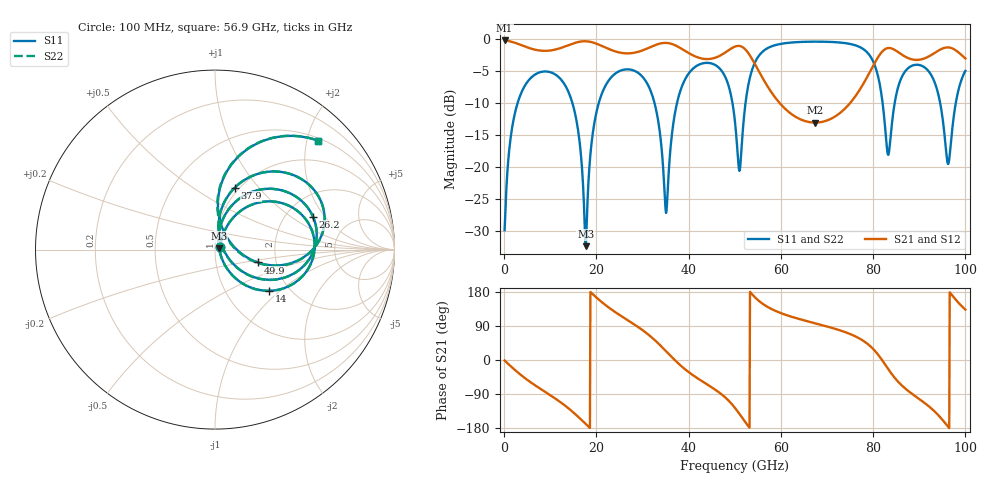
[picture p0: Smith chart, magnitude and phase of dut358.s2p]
! Touchstone file exported from HFSS 2026.1.0
!  File:  C:/ffzhzh/LocalFiles/Ansys_Project_Files/temp_train_TSV_RDL_358_1783709999_45164.aedt
!  Generated:  03:07:11 AM Jul 11, 2026
!  Design:  TSV_RDL
!  Project:  temp_train_TSV_RDL_358_1783709999_45164
! Variables:
!  h_bsmrdl = 2.02um
!  h_ox = 20um
!  h_rdl = 5um
!  h_sub = 94.35um
!  h_tmrdl = 2.02um
!  h_tsv = 94.35um
!  h_via = 3um
!  l_bsmrdl = 192.8um
!  l_sub = 2817.69um
!  l_tmrdl = 435.98um
!  m_sub = 200um
!  pitch = 50.09um
!  r_tsv = 11.07um
!  s_tmrdl = 10um
!  w_bsmrdl = 18.77um
!  w_sub = 500um
!  w_tmrdl = 13.02um
!  x_tsv_center1 = 442.49um
!  x_tsv_center2 = 654.06um
!  x_tsv_center3 = 1103.06um
!  x_tsv_center4 = 1314.63um
!  x_tsv_center5 = 1763.63um
!  x_tsv_center6 = 1975.2um
# GHz S MA R 50.000000
! Terminal data exported
! Port[1] = TM_RDL1_1_T1
! Port[2] = TM_RDL5_1_T1
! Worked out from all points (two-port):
!   1000 points, 100 MHz to 100 GHz, reference 50 ohm
!   highest |S21| = -0.26 dB at 100 MHz (marker M1); lowest = -13.1 dB at 67.4 GHz (marker M2)
!   |S21| within 3 dB of the highest: start of sweep to 53.84 GHz; 90.1 GHz to end of sweep (the widest 2 of 3)
!   lowest |S11| = -32.4 dB at 17.7 GHz (marker M3), VSWR 1.05, Z = 52.4 + j0.736 ohm
!   |S11| at or under -10 dB: 14.79 GHz to 20.52 GHz (5.739 GHz wide, 32.5 % of centre); 32.59 GHz to 37.49 GHz (4.894 GHz wide, 14 % of centre); 94.52 GHz to 97.92 GHz (3.397 GHz wide, 3.53 % of centre) (the widest 3 of 6)
!   |S22| runs from -32.6 to -0.4 dB; largest |S21 - S12| = 8.9e-13
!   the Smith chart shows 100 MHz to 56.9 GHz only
!   S11 on the Smith chart (normalised r, x): 100 MHz: 1.06, +0.03; 14 GHz: 1.59, -0.85; 26.2 GHz: 2.80, +1.53; 37.9 GHz: 0.95, +0.76; 49.9 GHz: 1.61, -0.25; 56.9 GHz: 0.55, +2.22
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0.1  0.03208 22.1  0.9705 -1.2  0.9705 -1.2  0.03208 22.1
! Gamma 0 0 0 0
! Port Impedance 50 0 50 0
4.2  0.412 40.7  0.8791 -44.9  0.8791 -44.9  0.4121 40.7
14  0.3806 -37.1  0.8936 -128.0  0.8936 -128.0  0.3807 -37.2
16.8  0.1072 -57.4  0.9539 -158.4  0.9539 -158.4  0.1071 -57.8
17.7  0.02408 17.0  0.9566 -168.9  0.9566 -168.9  0.02342 16.9
20.4  0.3047 65.4  0.9044 160.7  0.9044 160.7  0.3046 65.4
26.2  0.5762 18.4  0.7704 109.6  0.7704 109.6  0.5762 18.4
33.4  0.2285 -37.3  0.9098 44.0  0.9098 44.0  0.2284 -37.7
35.1  0.04373 20.0  0.9289 23.2  0.9289 23.2  0.04233 19.7
37.9  0.3617 72.3  0.859 -10.6  0.859 -10.6  0.3614 72.4
45  0.641 18.2  0.6998 -72.1  0.6998 -72.1  0.641 18.1
49.9  0.2497 -16.7  0.8648 -124.2  0.8648 -124.2  0.249 -17.4
50.1  0.2152 -15.8  0.8706 -127.2  0.8706 -127.2  0.2143 -16.6
56.9  0.8365 46.4  0.4374 141.6  0.4374 141.6  0.8361 46.6
66.7  0.9496 8.3  0.2225 99.2  0.2225 99.2  0.9494 8.3
67.4  0.95 6.3  0.2218 96.9  0.2218 96.9  0.9498 6.3
79.4  0.7281 -46.0  0.5604 36.2  0.5604 36.2  0.7279 -46.2
83.4  0.128 -8.9  0.8478 -26.2  0.8478 -26.2  0.1264 -8.8
86.6  0.5339 12.2  0.7376 -71.4  0.7376 -71.4  0.5336 12.3
92.5  0.5277 -31.3  0.7434 -126.6  0.7434 -126.6  0.5278 -31.3
96.3  0.1056 5.3  0.8564 -176.8  0.8564 -176.8  0.1071 5.3
100  0.5621 35.0  0.7023 132.9  0.7023 132.9  0.5624 34.8
